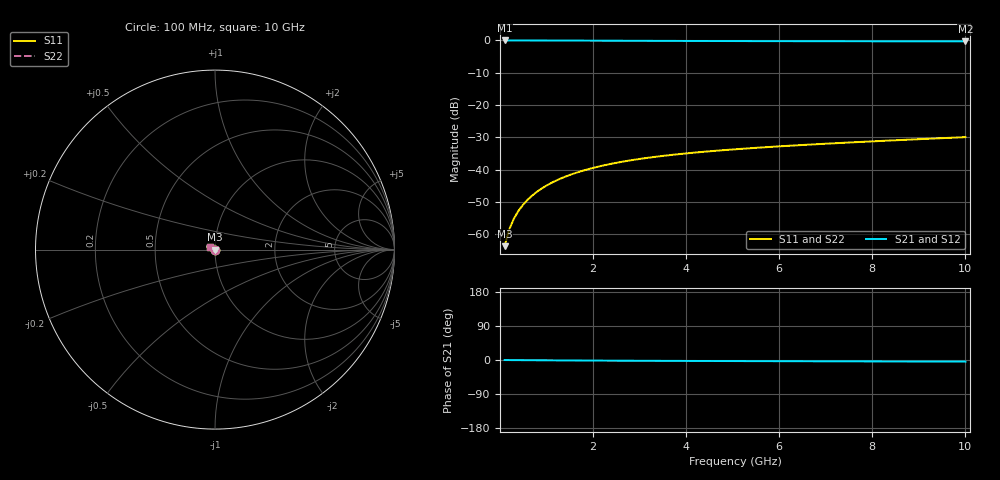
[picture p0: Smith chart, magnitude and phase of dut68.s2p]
! Touchstone file exported from HFSS 2024.1.0
!  File:  C:/UserFiles/LocalFiles/RDL_TSV_Batchsim/temp_TSV1_68_1779373729.aedt
!  Generated:  10:35:59 PM May 21, 2026
!  Design:  TSV1
!  Project:  temp_TSV1_68_1779373729
!  Setup:  Setup1
!  Solution:  Sweep
! Variables:
!  dtsv = 6.31um
!  hbump = 3um
!  htsv = 63.03um
!  lrdl = 252.1521522um
!  p = 40
!  p1 = 47.79um
!  t = 500um
!  trdl = 3um
!  wrdl = 24.89489489um
# GHz S MA R 50.000000
! Terminal data exported
! Port[1] = TSV22_T1
! Port[2] = TSV22_T2
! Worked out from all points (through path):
!   100 points, 100 MHz to 10 GHz, reference 50 ohm
!   highest |S21| = 0.00 dB at 100 MHz (marker M1); lowest = -0.3 dB at 10 GHz (marker M2)
!   lowest |S11| = -63.8 dB at 100 MHz (marker M3), VSWR 1.00, Z = 50 - j0.0581 ohm
!   |S11| at or under -10 dB: start of sweep to end of sweep
!   |S22| runs from -63.8 to -30.0 dB; largest |S21 - S12| = 1.1e-14
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0.1  0.0006483 -63.6  0.9997 -0.1  0.9997 -0.1  0.0006483 -63.6
! Gamma 0 0 0 0
! Port Impedance 50 0 50 0
0.2  0.00118 -79.2  0.9996 -0.2  0.9996 -0.2  0.00118 -79.2
0.3  0.001736 -86.4  0.9995 -0.3  0.9995 -0.3  0.001736 -86.4
0.4  0.002299 -91.1  0.9993 -0.3  0.9993 -0.3  0.002299 -91.1
0.5  0.002863 -94.8  0.9991 -0.4  0.9991 -0.4  0.002863 -94.8
0.6  0.003427 -97.9  0.9989 -0.5  0.9989 -0.5  0.003427 -97.9
0.7  0.003987 -100.7  0.9986 -0.6  0.9986 -0.6  0.003987 -100.7
0.8  0.004542 -103.3  0.9983 -0.7  0.9983 -0.7  0.004542 -103.3
0.9  0.005092 -105.7  0.9979 -0.8  0.9979 -0.8  0.005092 -105.7
1.1  0.006171 -110.3  0.9971 -0.9  0.9971 -0.9  0.006171 -110.3
1.4  0.007728 -116.7  0.9958 -1.1  0.9958 -1.1  0.007728 -116.7
1.6  0.008719 -120.7  0.9948 -1.3  0.9948 -1.3  0.008719 -120.7
1.8  0.009671 -124.6  0.9937 -1.4  0.9937 -1.4  0.009671 -124.6
2.1  0.01102 -130.2  0.9921 -1.6  0.9921 -1.6  0.01102 -130.2
2.5  0.01269 -137.1  0.9899 -1.8  0.9899 -1.8  0.01269 -137.1
2.9  0.01421 -143.5  0.9877 -2.0  0.9877 -2.0  0.01421 -143.5
3.4  0.01592 -151.0  0.9851 -2.2  0.9851 -2.2  0.01592 -151.0
4.2  0.01833 -161.6  0.9814 -2.5  0.9814 -2.5  0.01833 -161.6
5.1  0.02069 -171.8  0.978 -2.8  0.978 -2.8  0.02069 -171.8
6.7  0.02442 173.4  0.9737 -3.3  0.9737 -3.3  0.02442 173.4
8.4  0.02817 161.2  0.9706 -3.8  0.9706 -3.8  0.02817 161.2
10  0.03173 152.0  0.9685 -4.3  0.9685 -4.3  0.03173 152.0
